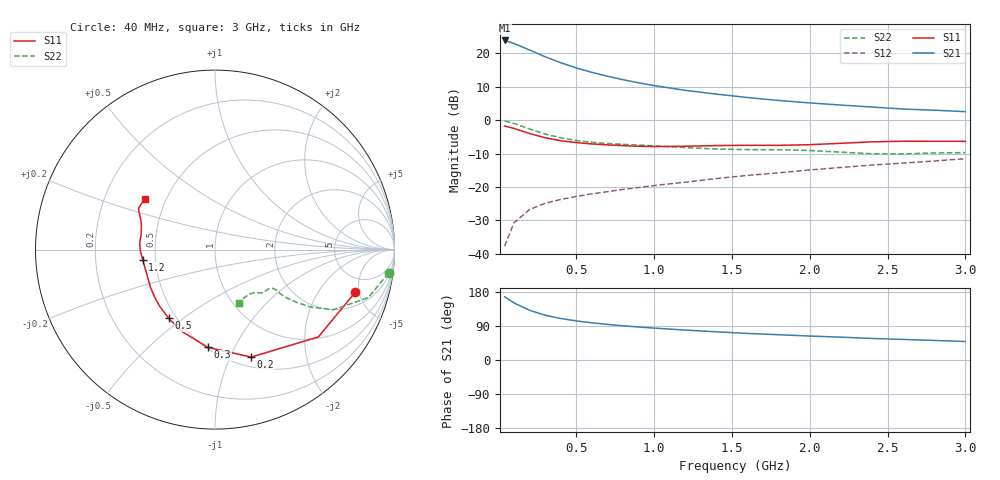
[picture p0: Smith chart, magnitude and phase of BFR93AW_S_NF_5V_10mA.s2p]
! Filename:  BFR93AWB.S2P  Version:  4.0
! Philips part #: BFR93AW  Date: Jun 1994
! Bias condition: Vce=5V, Ic=10mA
#  MHz  S  MA  R  50
! Freq  S11  S21  S12  S22  !GUM [dB]
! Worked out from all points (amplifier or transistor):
!   21 points, 40 MHz to 3 GHz, reference 50 ohm
!   highest |S21| = 23.9 dB at 40 MHz (marker M1)
!   |S21| within 3 dB of that: start of sweep to 207.1 MHz
!   unconditionally stable (mu >= 1): 949.9 MHz to end of sweep
!   at 300 MHz: K = 0.52, MSG = 21.9 dB, |S12| = -24.9 dB
!   at 1 GHz: K = 1.02, MAG = 14.1 dB, |S12| = -19.6 dB
!   at 3 GHz: K = 1.03, MAG = 6.0 dB, |S12| = -11.5 dB
!   lowest NFmin = 1.40 dB at 500 MHz
!   S11 on the Smith chart (normalised r, x): 40 MHz: 3.20, -4.56; 200 MHz: 0.60, -1.20; 300 MHz: 0.51, -0.79; 500 MHz: 0.45, -0.44; 1.2 GHz: 0.42, -0.06; 3 GHz: 0.38, +0.28
40  0.817 -16.9  15.62 166.9  0.013 81.0  0.976 -7.7
100  0.754 -40.2  14.11 150.7  0.029 70.1  0.895 -17.4
200  0.632 -71.4  11.24 131.1  0.046 59.4  0.739 -27.0
300  0.546 -94.2  8.916 118.3  0.057 54.4  0.621 -31.0
400  0.493 -111.4  7.247 109.5  0.065 53.4  0.545 -32.8
500  0.462 -124.0  6.06 103.2  0.072 53.6  0.496 -33.7
600  0.441 -134.3  5.208 98.2  0.079 55.3  0.466 -34.1
700  0.427 -142.5  4.552 94.0  0.085 56.7  0.448 -34.1
800  0.416 -149.8  4.044 90.3  0.092 58.2  0.435 -34.0
900  0.407 -156.2  3.631 87.0  0.098 59.8  0.424 -33.7
1000  0.403 -162.1  3.297 84.2  0.105 61.3  0.413 -33.4
1200  0.407 -172.2  2.798 79.0  0.118 63.8  0.389 -33.7
1400  0.417 -179.7  2.458 74.4  0.134 65.9  0.37 -36.1
1600  0.421 174.7  2.185 70.1  0.149 67.3  0.363 -39.8
1800  0.42 168.8  1.974 66.7  0.163 69.0  0.361 -42.0
2000  0.43 162.2  1.813 63.2  0.18 70.2  0.352 -43.3
2200  0.451 157.0  1.685 60.3  0.196 71.2  0.332 -45.9
2400  0.474 153.5  1.574 56.8  0.213 71.8  0.314 -51.6
2600  0.484 151.7  1.468 54.3  0.228 72.0  0.313 -58.6
2800  0.483 148.5  1.411 51.6  0.245 72.7  0.323 -63.1
3000  0.482 144.1  1.341 48.8  0.265 72.8  0.327 -65.8
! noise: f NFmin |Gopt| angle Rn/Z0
500  1.4  0.137  88.2  0.172
1000  1.9  0.24  145.7  0.198
2000  2.9  0.61  -152.3  0.131
